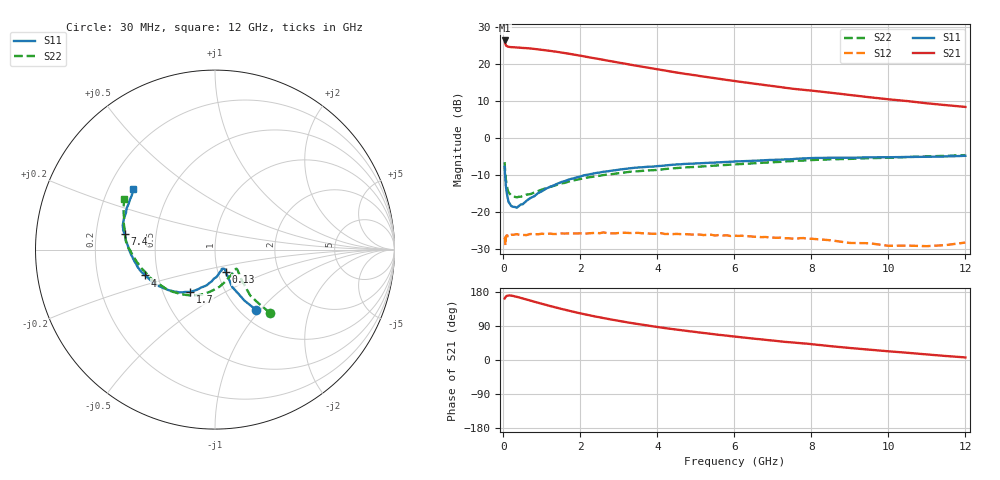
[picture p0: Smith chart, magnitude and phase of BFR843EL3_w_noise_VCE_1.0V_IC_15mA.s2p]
! Infineon Technologies  Discrete & RF Semiconductors
! BFR843EL3
! VCE =  1.0 V,  IC =  15 mA
! Common Emitter S-Parameters:  Aug 2013
# GHz  S  MA  R  50
!  f  S11  S21  S12  S22
! GHz  MAG  ANG  MAG  ANG  MAG  ANG  MAG  ANG
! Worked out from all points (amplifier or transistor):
!   103 points, 30 MHz to 12 GHz, reference 50 ohm
!   highest |S21| = 26.3 dB at 30 MHz (marker M1)
!   |S21| within 3 dB of that: start of sweep to 1.336 GHz
!   unconditionally stable (mu >= 1): 4.859 GHz to end of sweep
!   at 400 MHz: K = 0.99, MSG = 25.3 dB, |S12| = -26.2 dB
!   at 3.7 GHz: K = 0.90, MSG = 22.4 dB, |S12| = -25.8 dB
!   at 12 GHz: K = 2.33, MAG = 11.9 dB, |S12| = -28.3 dB
!   lowest NFmin = 0.99 dB at 900 MHz
!   S11 on the Smith chart (normalised r, x): 30 MHz: 1.18, -0.95; 130 MHz: 1.09, -0.28; 1.7 GHz: 0.69, -0.35; 4 GHz: 0.43, -0.15; 7.4 GHz: 0.33, +0.08; 12 GHz: 0.30, +0.30
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0.03  0.405 -55.8  20.68 162.3  0.0425 28.1  0.4679 -49.0
0.04  0.3263 -60.1  19.32 163.8  0.0444 22.4  0.38 -51.1
0.06  0.2292 -65.3  17.94 166.9  0.0454 21.5  0.284 -51.4
0.09  0.1749 -65.0  17.3 169.2  0.0477 11.7  0.2201 -48.3
0.13  0.1378 -64.3  16.99 170.1  0.0483 7.9  0.1851 -44.5
0.25  0.1163 -65.8  16.73 169.0  0.0487 4.1  0.1605 -41.6
0.6  0.1407 -82.6  16.27 159.6  0.0483 3.3  0.1703 -58.3
1.1  0.2042 -103.1  15.21 145.6  0.0499 3.3  0.208 -82.8
1.4  0.2389 -112.8  14.49 137.6  0.05 2.0  0.2317 -94.9
1.7  0.2729 -120.2  13.67 130.1  0.0509 2.1  0.2559 -104.6
2.1  0.3111 -129.9  12.58 120.8  0.0503 2.7  0.2852 -116.3
2.6  0.3471 -139.9  11.3 110.6  0.0525 0.8  0.3133 -127.4
3  0.3701 -146.4  10.36 103.2  0.0516 -0.3  0.3321 -134.8
3.5  0.3963 -153.7  9.321 94.8  0.0518 -1.5  0.3526 -143.0
4  0.4135 -159.6  8.432 87.1  0.0503 -0.9  0.3675 -149.6
4.1  0.4167 -160.6  8.263 85.7  0.0512 -1.1  0.3722 -150.4
5.1  0.4519 -171.3  6.832 72.5  0.0491 -2.7  0.4064 -161.7
6.1  0.4792 180.0  5.757 60.8  0.0471 -1.9  0.4394 -170.6
7.4  0.5109 170.2  4.683 47.1  0.0438 -2.4  0.4809 179.2
8.5  0.5363 161.1  4.061 36.5  0.0411 -2.1  0.5109 170.1
10.5  0.5497 149.5  3.129 19.0  0.0348 11.9  0.5485 158.2
12  0.5697 143.4  2.61 6.8  0.0383 25.3  0.5823 151.1
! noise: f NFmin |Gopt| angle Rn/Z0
0.45  1  0.06  107  0.12
0.9  0.99  0.07  113  0.12
1.5  1.01  0.08  117  0.11
1.9  1.02  0.08  121  0.11
2.4  1.03  0.09  126  0.11
3.5  1.05  0.12  140  0.1
5.5  1.09  0.18  162  0.1
8  1.14  0.3  190  0.07
10  1.18  0.42  217  0.07
